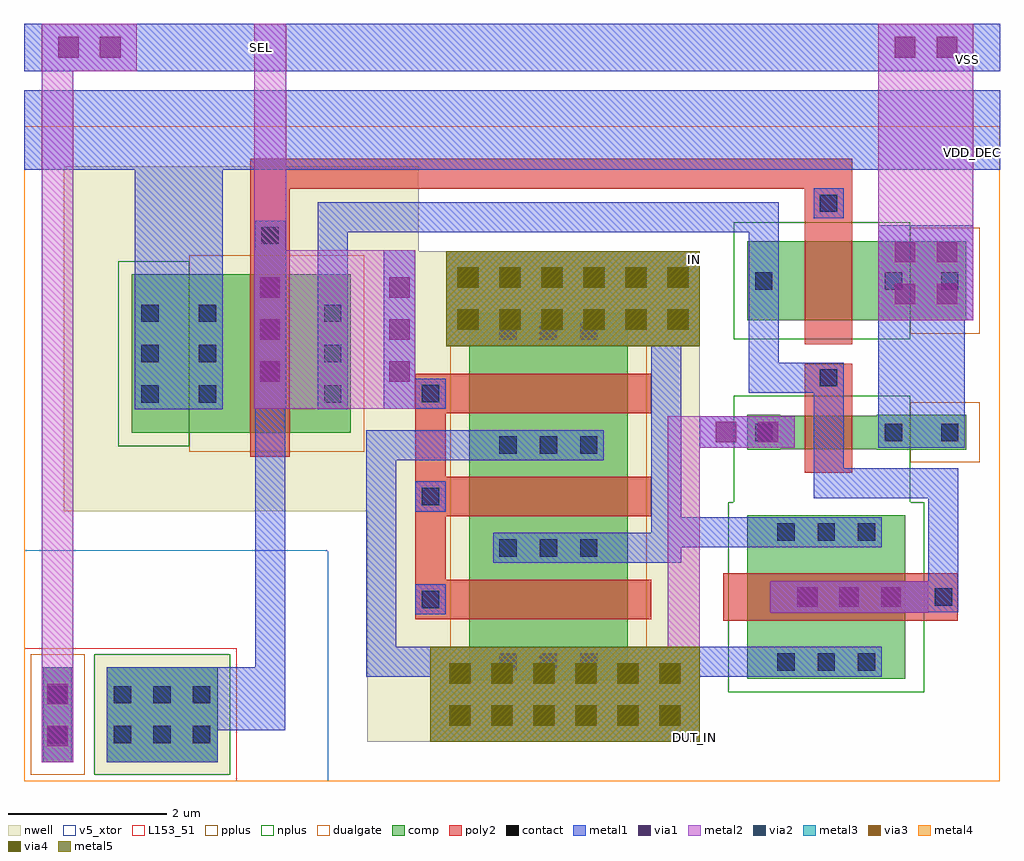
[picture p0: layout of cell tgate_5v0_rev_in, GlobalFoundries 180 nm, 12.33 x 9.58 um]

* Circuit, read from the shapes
.subckt tgate_5v0_rev_in DUT_IN IN SEL VDD_DEC VSS
XM1 IN n1 DUT_IN VSS nfet_05v0 w=2u l=0.6u
XM2 VSS n1 DUT_IN VSS nfet_05v0 w=0.42u l=0.6u
XM3 VSS SEL n1 VSS nfet_05v0 w=1u l=0.6u
XM4 n1 SEL VDD_DEC VDD_DEC pfet_05v0 w=2u l=0.5u
XM5 IN SEL DUT_IN VDD_DEC pfet_05v0 w=2u l=0.5u m=3
.ends

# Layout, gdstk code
from math import pi, radians
import gdstk
lib = gdstk.Library(unit=1e-6, precision=1e-09)
def R(c, l, rs):  # rectangles x0, y0, x1, y1
    for r in rs: c.add(gdstk.rectangle(r[:2], r[2:], *l))
def A(c, l, x, y, w, h, nx, ny, dx, dy):  # array of equal rectangles
    R(c, l, [(x+i*dx, y+j*dy, x+i*dx+w, y+j*dy+h) for i in range(nx) for j in range(ny)])
def P(c, l, *ps):  # polygons
    for p in ps: c.add(gdstk.Polygon(p, *l))
nwell = (21, 0)
comp = (22, 0)
poly2 = (30, 0)
pplus = (31, 0)
nplus = (32, 0)
contact = (33, 0)
metal1 = (34, 0)
via1 = (35, 0)
metal2 = (36, 0)
via2 = (38, 0)
via3 = (40, 0)
via4 = (41, 0)
metal3 = (42, 0)
metal4 = (46, 0)
dualgate = (55, 0)
metal5 = (81, 0)
v5_xtor = (112, 1)
L153_51 = (153, 51)

pfet = lib.new_cell('pfet')
R(pfet, nwell, [(-1.24,-0.91,4.96,3.29)])
R(pfet, comp, [(-0.46,0,4.18,2)])
A(pfet, poly2, 0.31, -0.3, 0.5, 2.98, 3, 1, 1.3, 0)
R(pfet, pplus, [(-0.63,-0.24,4.35,2.24)])
A(pfet, contact, -0.34, 0.38, 0.22, 0.22, 1, 3, 0, 0.51)
A(pfet, contact, 1.1, 0.38, 0.22, 0.22, 1, 3, 0, 0.51)
A(pfet, contact, 2.4, 0.38, 0.22, 0.22, 1, 3, 0, 0.51)
A(pfet, contact, 3.84, 0.38, 0.22, 0.22, 1, 3, 0, 0.51)
A(pfet, contact, 0.45, 2.38, 0.22, 0.22, 3, 1, 1.3, 0)
A(pfet, metal1, 0.37, 2.3, 0.38, 0.38, 3, 1, 1.3, 0)
R(pfet, metal1, [(-0.42,0.3,-0.04,1.7), (1.02,0.3,1.4,1.7), (2.32,0.3,2.7,1.7), (3.76,0.3,4.14,1.7)])
R(pfet, dualgate, [(-1.74,-1.41,5.46,3.79)])
R(pfet, v5_xtor, [(-1.74,-1.41,5.46,3.79)])

nfet_3 = lib.new_cell('nfet$3')
R(nfet_3, comp, [(-0.42,0,1.64,2)])
R(nfet_3, poly2, [(0.31,-0.66,0.91,2.3)])
R(nfet_3, nplus, [(-0.59,-0.24,1.81,2.24)])
A(nfet_3, contact, -0.32, 0.38, 0.22, 0.22, 1, 3, 0, 0.51)
A(nfet_3, contact, 1.32, 0.38, 0.22, 0.22, 1, 3, 0, 0.51)
R(nfet_3, contact, [(0.5,-0.59,0.72,-0.37)])
R(nfet_3, metal1, [(0.42,-0.67,0.8,-0.29), (-0.4,0.3,-0.02,1.7), (1.24,0.3,1.62,1.7)])
R(nfet_3, dualgate, [(-0.84,-1.08,2.06,2.71)])
R(nfet_3, v5_xtor, [(-0.84,-1.08,2.06,2.71)])

nfet = lib.new_cell('nfet')
R(nfet, comp, [(-0.42,0,2.35,1)])
R(nfet, poly2, [(0.31,-0.3,0.91,1.66)])
R(nfet, pplus, [(1.64,-0.17,2.52,1.17)])
R(nfet, nplus, [(-0.59,-0.24,1.64,1.24)])
R(nfet, contact, [(-0.32,0.39,-0.1,0.61), (1.32,0.39,1.54,0.61), (2.03,0.39,2.25,0.61), (0.5,1.37,0.72,1.59)])
R(nfet, metal1, [(-0.4,0.31,-0.02,0.69), (1.24,0.31,1.62,0.69), (1.95,0.31,2.33,0.69), (0.42,1.29,0.8,1.67)])
R(nfet, dualgate, [(-0.84,-0.71,2.77,2.08)])
R(nfet, v5_xtor, [(-0.84,-0.71,2.77,2.08)])

nfet_5 = lib.new_cell('nfet$5')
P(nfet_5, comp, [(-0.42,-0.01),(-0.42,0.43),(0,0.43),(0,0.42),(1.22,0.42),(1.22,0.43),(2.35,0.43),(2.35,-0.01),(1.22,-0.01),(1.22,0),(0,0),(0,-0.01)])
R(nfet_5, poly2, [(0.31,-0.3,0.91,1.08)])
R(nfet_5, pplus, [(1.64,-0.17,2.52,0.59)])
R(nfet_5, nplus, [(-0.59,-0.25,1.64,0.67)])
R(nfet_5, contact, [(-0.32,0.1,-0.1,0.32), (1.32,0.1,1.54,0.32), (2.03,0.1,2.25,0.32), (0.5,0.79,0.72,1.01)])
R(nfet_5, metal1, [(-0.4,0.02,-0.02,0.4), (1.24,0.02,1.62,0.4), (1.95,0.02,2.33,0.4), (0.42,0.71,0.8,1.09)])
R(nfet_5, dualgate, [(-0.84,-0.71,2.77,1.5)])
R(nfet_5, v5_xtor, [(-0.84,-0.71,2.77,1.5)])

via_dev_11 = lib.new_cell('via_dev$11')
R(via_dev_11, metal1, [(0,0,3.2,1.2)])
A(via_dev_11, via1, 0.145, 0.205, 0.26, 0.26, 6, 2, 0.53, 0.53)
R(via_dev_11, metal2, [(0,0,3.2,1.2)])
A(via_dev_11, via2, 0.145, 0.205, 0.26, 0.26, 6, 2, 0.53, 0.53)
A(via_dev_11, via3, 0.145, 0.205, 0.26, 0.26, 6, 2, 0.53, 0.53)
A(via_dev_11, via4, 0.145, 0.205, 0.26, 0.26, 6, 2, 0.53, 0.53)
R(via_dev_11, metal3, [(0,0,3.2,1.2)])
R(via_dev_11, metal4, [(0,0,3.2,1.2)])
R(via_dev_11, metal5, [(0,0,3.2,1.2)])

via_dev = lib.new_cell('via_dev')
R(via_dev, metal1, [(0,0,3.4,1.2)])
A(via_dev, via1, 0.245, 0.205, 0.26, 0.26, 6, 2, 0.53, 0.53)
R(via_dev, metal2, [(0,0,3.4,1.2)])
A(via_dev, via2, 0.245, 0.205, 0.26, 0.26, 6, 2, 0.53, 0.53)
A(via_dev, via3, 0.245, 0.205, 0.26, 0.26, 6, 2, 0.53, 0.53)
A(via_dev, via4, 0.245, 0.205, 0.26, 0.26, 6, 2, 0.53, 0.53)
R(via_dev, metal3, [(0,0,3.4,1.2)])
R(via_dev, metal4, [(0,0,3.4,1.2)])
R(via_dev, metal5, [(0,0,3.4,1.2)])

pfet_3 = lib.new_cell('pfet$3')
R(pfet_3, nwell, [(-1.32,-1.37,3.17,2.99)])
R(pfet_3, comp, [(-0.46,0,2.31,2)])
R(pfet_3, poly2, [(0.31,-0.68,0.81,2.3)])
R(pfet_3, pplus, [(-0.63,-0.24,1.58,2.24)])
R(pfet_3, nplus, [(1.58,-0.17,2.48,2.17)])
A(pfet_3, contact, -0.34, 0.38, 0.22, 0.22, 1, 3, 0, 0.51)
A(pfet_3, contact, 1.24, 0.38, 0.22, 0.22, 1, 3, 0, 0.51)
A(pfet_3, contact, 1.97, 0.38, 0.22, 0.22, 1, 3, 0, 0.51)
R(pfet_3, contact, [(0.45,-0.6,0.67,-0.38)])
R(pfet_3, metal1, [(0.37,-0.68,0.75,-0.3), (-0.42,0.3,-0.04,1.7), (1.16,0.3,1.54,1.7), (1.89,0.3,2.27,1.7)])
R(pfet_3, dualgate, [(-1.82,-1.87,3.67,3.49)])
R(pfet_3, v5_xtor, [(-1.82,-1.87,3.67,3.49)])

via_dev_4 = lib.new_cell('via_dev$4')
R(via_dev_4, metal1, [(0,0,0.4,2)])
A(via_dev_4, via1, 0.07, 0.34, 0.26, 0.26, 1, 3, 0, 0.53)
R(via_dev_4, metal2, [(0,0,0.4,2)])

via_dev_7 = lib.new_cell('via_dev$7')
R(via_dev_7, metal1, [(0,0,2,0.4)])
A(via_dev_7, via1, 0.34, 0.07, 0.26, 0.26, 3, 1, 0.53, 0)
R(via_dev_7, metal2, [(0,0,2,0.4)])

via_dev_9 = lib.new_cell('via_dev$9')
R(via_dev_9, metal1, [(0,0,1.2,0.4)])
R(via_dev_9, via1, [(0.205,0.07,0.465,0.33), (0.735,0.07,0.995,0.33)])
R(via_dev_9, metal2, [(0,0,1.2,0.4)])

via_dev_12 = lib.new_cell('via_dev$12')
R(via_dev_12, metal1, [(0,0,0.4,1.2)])
R(via_dev_12, via1, [(0.07,0.205,0.33,0.465), (0.07,0.735,0.33,0.995)])
R(via_dev_12, metal2, [(0,0,0.4,1.2)])

via_dev_5 = lib.new_cell('via_dev$5')
R(via_dev_5, metal1, [(0,0,1.2,0.6)])
R(via_dev_5, via1, [(0.205,0.17,0.465,0.43), (0.735,0.17,0.995,0.43)])
R(via_dev_5, metal2, [(0,0,1.2,0.6)])

via_dev_8 = lib.new_cell('via_dev$8')
R(via_dev_8, metal1, [(0,0,1.2,1.2)])
R(via_dev_8, via1, [(0.205,0.205,0.465,0.465), (0.735,0.205,0.995,0.465), (0.205,0.735,0.465,0.995), (0.735,0.735,0.995,0.995)])
R(via_dev_8, metal2, [(0,0,1.2,1.2)])

diode_nw2ps = lib.new_cell('diode_nw2ps')
R(diode_nw2ps, nwell, [(0.64,-0.16,2.36,1.36)])
R(diode_nw2ps, comp, [(0,0,0.36,1.2), (0.8,0,2.2,1.2)])
R(diode_nw2ps, pplus, [(-0.16,-0.16,0.52,1.36)])
R(diode_nw2ps, nplus, [(0.64,-0.16,2.36,1.36)])
A(diode_nw2ps, contact, 0.89, 0.24, 0.22, 0.22, 3, 2, 0.5, 0.5)
R(diode_nw2ps, contact, [(0.07,0.24,0.29,0.46), (0.07,0.74,0.29,0.96)])
R(diode_nw2ps, metal1, [(0,0,0.36,1.2), (0.8,0,2.2,1.2)])
R(diode_nw2ps, dualgate, [(-0.24,-0.24,2.44,1.44)])
R(diode_nw2ps, L153_51, [(-0.24,-0.24,2.44,1.44)])

tgate_5v0_rev_in = lib.new_cell('tgate_5v0_rev_in')
R(tgate_5v0_rev_in, poly2, [(1.265,0.465,1.645,3.565), (-0.44,5.5,-0.32,5.9)])
R(tgate_5v0_rev_in, nplus, [(5.285,1.945,7.515,2.365)])
R(tgate_5v0_rev_in, metal1, [(7.115,2.63,8.205,4.93), (-2.28,3.12,-1.17,6.45)])
R(tgate_5v0_rev_in, dualgate, [(-3.68,-1.585,8.645,6.69)])
R(tgate_5v0_rev_in, v5_xtor, [(0.155,-1.585,8.645,1.33), (-3.68,1.33,8.645,6.69)])
tgate_5v0_rev_in.add(gdstk.FlexPath([(-2.44,-0.54),(-0.38,-0.54)], 0.8, ends="flush", simple_path=True, layer=34, datatype=0))  # metal1
tgate_5v0_rev_in.add(gdstk.FlexPath([(-3.68,7.69),(8.65,7.69)], 0.6, ends="flush", simple_path=True, layer=34, datatype=0))  # metal1
tgate_5v0_rev_in.add(gdstk.FlexPath([(-3.68,6.645),(8.65,6.645)], 1, ends="flush", simple_path=True, layer=34, datatype=0))  # metal1
tgate_5v0_rev_in.add(gdstk.FlexPath([(3.545,4.105),(4.435,4.105),(4.435,1.365),(3.4,1.365)], 0.38, ends="flush", simple_path=True, layer=34, datatype=0))  # metal1
tgate_5v0_rev_in.add(gdstk.FlexPath([(2.545,2.665),(0.835,2.665),(0.835,-0.075),(2.47,-0.075)], 0.38, ends="flush", simple_path=True, layer=34, datatype=0))  # metal1
tgate_5v0_rev_in.add(gdstk.FlexPath([(3.345,-0.075),(6.44,-0.075)], 0.38, ends="flush", simple_path=True, layer=34, datatype=0))  # metal1
tgate_5v0_rev_in.add(gdstk.FlexPath([(5.85,1.565),(4.37,1.565)], 0.38, ends="flush", simple_path=True, layer=34, datatype=0))  # metal1
tgate_5v0_rev_in.add(gdstk.FlexPath([(0.22,4.16),(0.22,5.545),(5.665,5.545),(5.665,4.55)], 0.38, ends="flush", simple_path=True, layer=34, datatype=0))  # metal1
tgate_5v0_rev_in.add(gdstk.FlexPath([(-0.57,5.42),(-0.57,-0.625)], 0.38, ends="flush", simple_path=True, layer=34, datatype=0))  # metal1
tgate_5v0_rev_in.add(gdstk.FlexPath([(6.485,3.44),(6.485,2.18),(7.935,2.18),(7.935,0.555)], 0.38, ends="flush", simple_path=True, layer=34, datatype=0))  # metal1
tgate_5v0_rev_in.add(gdstk.FlexPath([(5.665,4.69),(5.665,3.515),(6.675,3.515)], 0.38, ends="flush", simple_path=True, layer=34, datatype=0))  # metal1
tgate_5v0_rev_in.add(gdstk.FlexPath([(6.05,2.83),(4.655,2.83),(4.655,-0.325)], 0.4, ends="flush", simple_path=True, layer=36, datatype=0))  # metal2
tgate_5v0_rev_in.add(gdstk.FlexPath([(-0.57,4.13),(-0.57,7.99)], 0.4, ends="flush", simple_path=True, layer=36, datatype=0))  # metal2
tgate_5v0_rev_in.add(gdstk.FlexPath([(-3.255,-0.625),(-3.255,7.99)], 0.4, ends="flush", simple_path=True, layer=36, datatype=0))  # metal2
tgate_5v0_rev_in.add(gdstk.FlexPath([(-0.595,4.125),(1.185,4.125)], 2, ends="flush", simple_path=True, layer=36, datatype=0))  # metal2
tgate_5v0_rev_in.add(gdstk.FlexPath([(7.715,4.245),(7.715,7.99)], 1.2, ends="flush", simple_path=True, layer=36, datatype=0))  # metal2
tgate_5v0_rev_in.add(gdstk.FlexPath([(-0.63,5.23),(-0.63,6.09),(6.785,6.09)], 0.38, ends="flush", simple_path=True, layer=30, datatype=0))  # poly2
tgate_5v0_rev_in.add(gdstk.Reference(pfet, (3.945,0.155), rotation=pi/2))
tgate_5v0_rev_in.add(gdstk.Reference(nfet_3, (7.455,0.135), rotation=pi/2))
tgate_5v0_rev_in.add(gdstk.Reference(nfet, (5.875,4.24)))
tgate_5v0_rev_in.add(gdstk.Reference(nfet_5, (5.875,2.615)))
tgate_5v0_rev_in.add(gdstk.Reference(via_dev_11, (1.655,3.915)))
tgate_5v0_rev_in.add(gdstk.Reference(via_dev, (1.455,-1.085)))
tgate_5v0_rev_in.add(gdstk.Reference(pfet_3, (-0.01,4.82), rotation=pi))
tgate_5v0_rev_in.add(gdstk.Reference(via_dev_4, (0.865,3.125)))
tgate_5v0_rev_in.add(gdstk.Reference(via_dev_4, (-0.77,3.125)))
tgate_5v0_rev_in.add(gdstk.Reference(via_dev_7, (5.745,0.545)))
tgate_5v0_rev_in.add(gdstk.Reference(via_dev_9, (4.855,2.63)))
tgate_5v0_rev_in.add(gdstk.Reference(via_dev_12, (-3.455,-1.345)))
tgate_5v0_rev_in.add(gdstk.Reference(via_dev_5, (-3.455,7.39)))
tgate_5v0_rev_in.add(gdstk.Reference(via_dev_5, (7.115,7.39)))
tgate_5v0_rev_in.add(gdstk.Reference(via_dev_8, (7.115,4.24)))
tgate_5v0_rev_in.add(gdstk.Reference(diode_nw2ps, (-3.435,-1.34)))
tgate_5v0_rev_in.add(gdstk.Label('VSS', (8.245,7.535), layer=34, texttype=10))
tgate_5v0_rev_in.add(gdstk.Label('VDD_DEC', (8.3,6.365), layer=34, texttype=10))
tgate_5v0_rev_in.add(gdstk.Label('SEL', (-0.685,7.685), layer=36, texttype=10))
tgate_5v0_rev_in.add(gdstk.Label('IN', (4.795,5.015), layer=36, texttype=10))
tgate_5v0_rev_in.add(gdstk.Label('DUT_IN', (4.79,-1.03), layer=36, texttype=10))

lib.write_gds('tgate_5v0_rev_in.gds')
